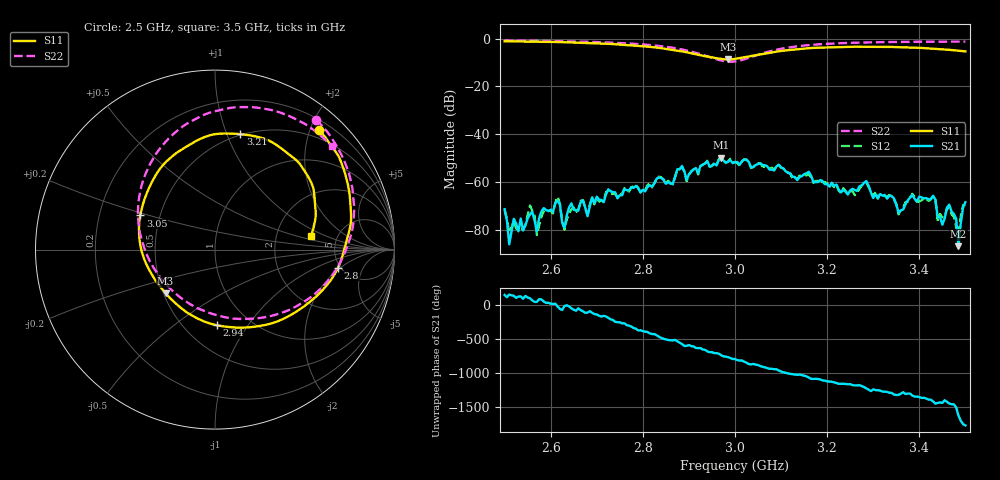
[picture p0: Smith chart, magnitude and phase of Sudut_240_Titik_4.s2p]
# Hz S RI R 50
! CMT, C1220, 16058040, 17.2.0/1
! Date: 15/08/2018 10:34:58
! Data: Format (Calibration Info)
! Freq  S11: Re/Im (F2)  S21: Re/Im (F2)  S12: Re/Im (F2)  S22: Re/Im (F2)
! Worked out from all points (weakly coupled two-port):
!   201 points, 2.5 GHz to 3.5 GHz, reference 50 ohm
!   highest |S21| = -49.89 dB at 2.97 GHz (marker M1); lowest = -87.0 dB at 3.485 GHz (marker M2)
!   lowest |S11| = -8.7 dB at 2.985 GHz (marker M3), VSWR 2.16, Z = 25.7 - j14.4 ohm
!   |S11| at or under -10 dB: nowhere
!   |S22| runs from -9.7 to -0.8 dB; largest |S21 - S12| = 0.00023
!   S11 on the Smith chart (normalised r, x): 2.5 GHz: 0.36, +2.15; 2.8 GHz: 4.77, -1.83; 2.94 GHz: 0.71, -0.73; 3.05 GHz: 0.39, +0.19; 3.21 GHz: 0.49, +1.12; 3.5 GHz: 3.19, +0.68
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2.5e9  0.5798 0.6657  -0.000227 0.000141  -0.00022 0.000133  0.5644 0.7226
2.54e9  0.6295 0.6041  -4.05e-06 9.55e-05  -4.36e-05 8.97e-05  0.6101 0.6743
2.555e9  0.6446 0.5808  -2.91e-05 0.000204  -1.4e-05 0.000321  0.6263 0.6553
2.57e9  0.6651 0.5551  6.37e-05 6.66e-05  4.79e-05 6.04e-05  0.6419 0.6328
2.615e9  0.7084 0.4725  0.00038 -0.000148  0.00045 -0.000187  0.6872 0.5608
2.63e9  0.7224 0.4315  0.000106 -2.66e-05  7.14e-05 -7.06e-05  0.7012 0.5343
2.67e9  0.746 0.335  -1.98e-05 -0.000412  -8.36e-05 -0.000402  0.7364 0.4535
2.8e9  0.6853 -0.1  0.000614 -0.000296  0.000591 -0.000309  0.7551 0.0722
2.835e9  0.6022 -0.2221  -0.000369 -0.00117  -0.000354 -0.00124  0.7013 -0.0645
2.94e9  0.00857 -0.4215  0.00219 0.00158  0.00222 0.00165  0.1791 -0.3859
2.97e9  -0.1915 -0.3236  0.00301 -0.0011  0.00299 -0.00116  -0.0559 -0.3432
2.985e9  -0.2756 -0.2426  0.00175 -0.00196  0.00187 -0.00192  -0.169 -0.2843
3e9  -0.3458 -0.1491  0.000594 -0.00251  0.000438 -0.00259  -0.2663 -0.2004
3.05e9  -0.4167 0.1901  -0.00228 -0.000602  -0.00242 -0.00054  -0.4282 0.1722
3.17e9  -0.0126 0.6407  0.000989 -0.000154  0.000945 -8.26e-05  -0.0797 0.7426
3.21e9  0.141 0.6432  0.000609 -0.000741  0.000543 -0.00075  0.0667 0.7861
3.335e9  0.4684 0.4826  -0.000432 0.000274  -0.000433 0.000303  0.4026 0.7487
3.355e9  0.4988 0.4386  -0.0001 0.000202  -0.000114 0.000173  0.4404 0.7317
3.43e9  0.5566 0.2532  0.000482 0.000173  0.000443 0.000206  0.5638 0.6555
3.44e9  0.5592 0.2282  0.000181 -1.52e-05  0.00015 -8.97e-06  0.5783 0.6429
3.485e9  0.5473 0.1158  -4.42e-05 8.09e-06  -5.33e-05 -5.6e-05  0.6335 0.5918
3.5e9  0.5347 0.0756  0.00034 0.000159  0.000283 0.000157  0.6505 0.5747
